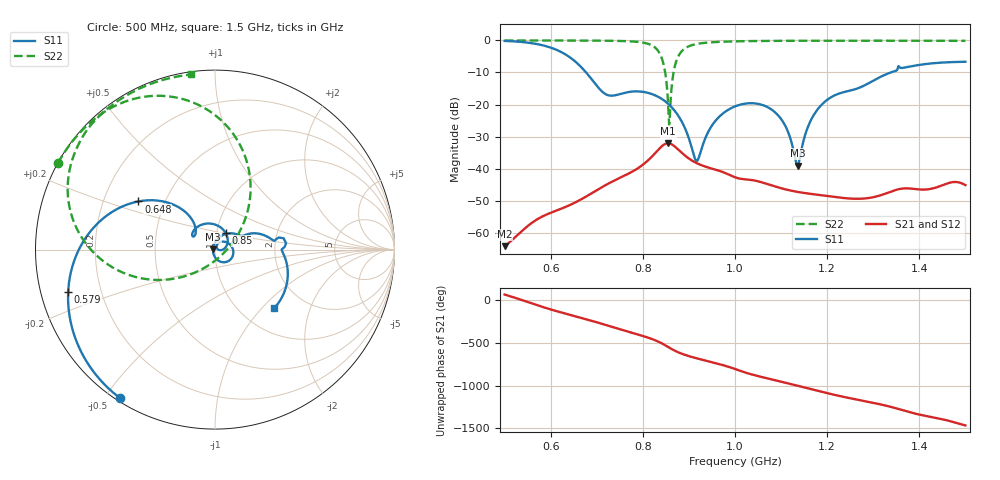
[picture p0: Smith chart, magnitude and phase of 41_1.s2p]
! TOUCHSTONE file generated by CST MICROWAVE STUDIO
! Date and time: Mon Oct 26 12:10:34 2020
! Project name: Scenario_1_Circular_Tissue_out_of_Line_v2.cst
! Parameters = {dy1=346; L_HA=400; MT=2.54; Rad_Dielectric=30; Rad_Lower=7.3; Rad_Upper=30; a_HA=580; a_WG=246; b_HA=500; b_WG=121; c_HA=0; c_WG=187; d_feed=85; dx1=173; h_feed=15; h_lower=18; h_upper=40}
! Header version: 2018
! Port assignment regex: !\s*Touchstone port\s*([0-9]+)\s*=\s*(CST MWS port|CST DS port)\s*([0-9]+|Zmin|Zmax)\s*\(\"(.*)\"\)(\s*mode\s*([0-9]+))?.*
! Touchstone port assignment:
! Touchstone port 1 = CST MWS port 1 ("")
! Touchstone port 2 = CST MWS port 2 ("")
# GHz S DB R 50
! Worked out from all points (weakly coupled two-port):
!   1003 points, 500 MHz to 1.5 GHz, reference 50 ohm
!   highest |S21| = -32.08 dB at 855 MHz (marker M1); lowest = -64.2 dB at 500 MHz (marker M2)
!   lowest |S11| = -39.0 dB at 1.136 GHz (marker M3), VSWR 1.02, Z = 48.9 + j0.126 ohm
!   |S11| at or under -10 dB: 676.9 MHz to 1.338 GHz (661 MHz wide, 65.6 % of centre)
!   |S22| runs from -26.2 to 0.0 dB; largest |S21 - S12| = 1e-05
!   S11 on the Smith chart (normalised r, x): 500 MHz: 0.01, -0.55; 579 MHz: 0.08, -0.14; 648 MHz: 0.35, +0.25; 850 MHz: 1.11, +0.21; 1.5 GHz: 1.41, -1.18
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0.5  -0.16 -122.4  -64.19 66.7  -64.19 66.7  -0.01 151.1
0.579  -1.40 -163.9  -55.14 -72.3  -55.14 -72.3  -0.02 145.7
0.648  -5.96 147.8  -50.93 -179.9  -50.93 -179.9  -0.03 140.1
0.667  -8.44 135.7  -49.51 152.3  -49.51 152.3  -0.04 138.3
0.721  -16.90 138.8  -44.99 68.0  -44.99 68.0  -0.09 132.1
0.779  -15.93 136.6  -40.78 -25.3  -40.78 -25.3  -0.34 120.5
0.834  -17.65 79.8  -34.04 -125.9  -34.04 -125.9  -3.44 82.8
0.85  -19.17 57.4  -32.20 -172.2  -32.20 -172.2  -11.49 48.2
0.855  -19.78 50.0  -32.08 171.6  -32.08 171.6  -20.26 18.4
0.86  -20.47 42.5  -32.23 155.7  -32.23 155.7  -19.38 -117.1
0.867  -21.58 32.0  -32.83 134.9  -32.83 134.9  -9.67 -149.2
0.877  -23.52 17.4  -34.08 109.4  -34.08 109.4  -4.96 -169.0
0.917  -37.61 31.4  -38.29 39.3  -38.29 39.3  -1.09 158.6
0.953  -25.93 55.4  -40.12 -10.8  -40.13 -10.9  -0.55 147.9
1  -20.58 11.5  -42.69 -85.5  -42.69 -85.5  -0.29 140.2
1.087  -22.43 -64.3  -45.56 142.5  -45.56 142.5  -0.13 130.9
1.112  -27.49 -90.2  -46.55 109.9  -46.55 109.9  -0.12 128.7
1.136  -39.03 173.4  -47.27 77.8  -47.27 77.8  -0.11 126.7
1.167  -24.25 76.2  -47.93 35.4  -47.93 35.4  -0.10 124.2
1.209  -17.68 44.0  -48.71 -20.2  -48.71 -20.2  -0.09 120.9
1.334  -10.21 12.4  -47.40 -163.7  -47.40 -163.7  -0.08 111.4
1.5  -6.66 -44.9  -45.13 -27.3  -45.13 -27.3  -0.13 97.9
